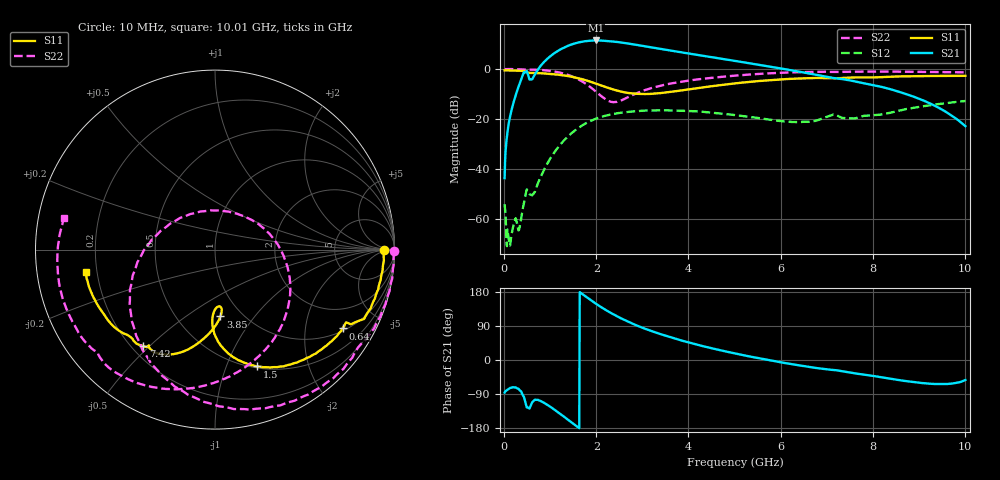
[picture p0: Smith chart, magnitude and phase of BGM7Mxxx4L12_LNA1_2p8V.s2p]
! (c) 2014 Infineon Technologies AG
! BGM7Mxxx4L12 - Silicon Germanium Quad-Band LTE LNA bank
! 20 May 2014
! Special Application Board
! C1 = L1 = 0 Ohm
! C2 = 100 nF
! Vcc = 2.8V
! RF input and output lines de-embedded
! Port 1 reference plane: LNA input AI (pin 8)
! Port 2 reference plane: LNA output AO (pin 7)
! Network Data:
! Measured BGM7Mxxx4L12 device level s-parameters
# GHz S MA R 50
!Freq  MagS11  AngS11  MagS21  AngS21  MagS12  AngS12  MagS22  AngS22
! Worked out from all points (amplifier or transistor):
!   1001 points, 10 MHz to 10.01 GHz, reference 50 ohm
!   highest |S21| = 11.4 dB at 1.99 GHz (marker M1)
!   |S21| within 3 dB of that: 1.281 GHz to 3.275 GHz (1.994 GHz wide, 87.5 % of centre)
!   unconditionally stable (mu >= 1): start of sweep to 124.1 MHz; 256 MHz to 6.16 GHz; 9.397 GHz to end of sweep (the widest 3 of 5)
!   at 1.67 GHz: K = 1.28, MAG = 13.6 dB, |S12| = -22.8 dB
!   at 5.01 GHz: K = 1.20, MAG = 8.1 dB, |S12| = -18.4 dB
!   at 10.01 GHz: K = 3.09, MAG = -12.8 dB, |S12| = -12.7 dB
!   lowest NFmin = 0.65 dB at 2.05 GHz
!   S11 on the Smith chart (normalised r, x): 10 MHz: 34, -2; 640 MHz: 1.09, -3.17; 1.5 GHz: 0.52, -1.29; 3.85 GHz: 0.80, -0.69; 7.42 GHz: 0.25, -0.48; 10.01 GHz: 0.16, -0.09
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0.01  0.9425 -0.2  0.006622 -85.8  0.001995 -6.9  0.9983 -0.6
0.1  0.9399 -5.5  0.0822 -76.2  0.0004053 130.4  0.997 -7.0
0.3  0.9312 -16.4  0.413 -75.5  0.00067 105.2  0.9935 -21.3
0.43  0.9158 -25.0  0.8738 -97.5  0.002064 179.6  0.9786 -30.8
0.51  0.8539 -28.9  0.8152 -125.4  0.003635 155.6  0.9663 -35.7
0.64  0.8352 -31.7  0.7057 -107.9  0.003263 166.2  0.9723 -45.2
0.85  0.8207 -40.6  1.342 -111.7  0.009115 -170.9  0.9517 -62.2
1.12  0.7812 -52.6  2.166 -133.7  0.02371 -179.7  0.8812 -85.8
1.3  0.7459 -60.9  2.689 -149.8  0.03762 170.4  0.8064 -103.3
1.5  0.6926 -70.0  3.183 -168.1  0.05588 157.8  0.6953 -124.7
1.68  0.6319 -77.7  3.502 175.5  0.07356 145.8  0.5744 -145.6
1.99  0.5134 -88.1  3.729 148.6  0.1021 125.4  0.3569 171.2
2.25  0.4225 -91.9  3.627 128.7  0.12 110.2  0.2339 120.2
2.52  0.3577 -91.6  3.407 110.9  0.1334 96.7  0.2325 59.9
2.93  0.3191 -87.3  2.983 88.6  0.1454 80.7  0.3452 6.2
3.35  0.3275 -83.7  2.571 70.0  0.1496 66.9  0.455 -23.3
3.85  0.3739 -85.4  2.16 51.4  0.147 55.2  0.5615 -48.2
5.01  0.5167 -98.9  1.454 17.2  0.1204 39.1  0.7382 -89.7
6.68  0.6609 -119.0  0.799 -19.4  0.08932 62.3  0.8798 -128.7
7.42  0.6699 -126.5  0.6118 -31.3  0.1043 62.2  0.8815 -142.0
8.35  0.704 -141.0  0.404 -49.1  0.1321 79.0  0.8923 -161.3
10.01  0.7325 -170.0  0.07208 -52.7  0.2306 72.2  0.8583 168.2
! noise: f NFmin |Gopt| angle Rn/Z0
1.8  0.6962  0.4212  60.88  0.1711
1.85  0.6783  0.4145  61.69  0.1558
1.9  0.6759  0.4261  63.79  0.1539
1.95  0.6761  0.414  65.15  0.1569
2  0.6697  0.3989  65.89  0.1521
2.05  0.6517  0.4538  66.79  0.142
2.1  0.6828  0.4238  69.21  0.1411
2.2  0.7117  0.4116  71.14  0.1473
2.35  0.7488  0.4149  76.25  0.1374
2.65  0.8306  0.3604  84.84  0.139
